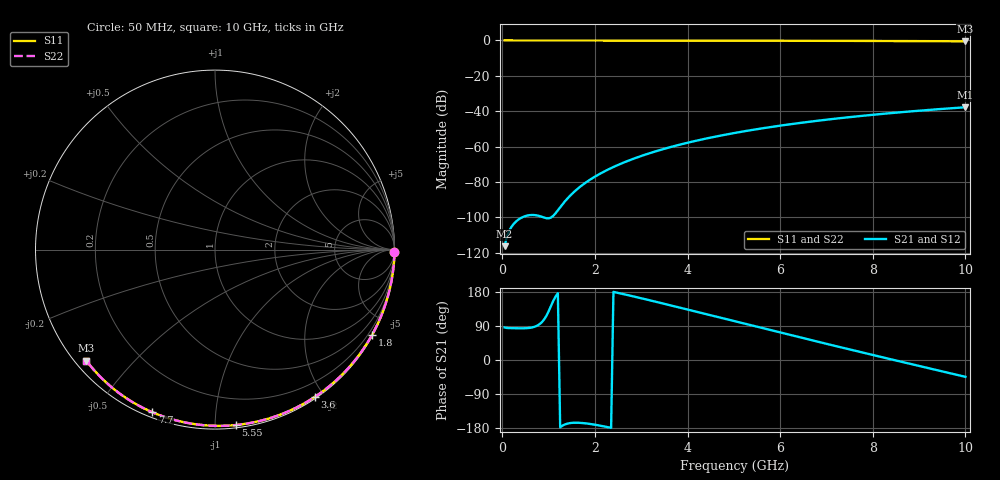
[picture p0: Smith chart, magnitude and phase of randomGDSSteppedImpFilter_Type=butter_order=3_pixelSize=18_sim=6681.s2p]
! freq	dB(S11)	phase(S11)	dB(S12)	phase(S12)
!  dB(S21)	phase(S21)	dB(S22)	phase(S22)
!S-par simulation data
#  GHz  S  DB  R 50
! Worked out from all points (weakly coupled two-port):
!   200 points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, 50 MHz to 10 GHz, reference 50 ohm
!   highest |S21| = -37.77 dB at 10 GHz (marker M1); lowest = -116.3 dB at 50 MHz (marker M2)
!   lowest |S11| = -0.5 dB at 10 GHz (marker M3), VSWR 36.77, Z = 1.55 - j18.6 ohm
!   |S11| at or under -10 dB: nowhere
!   |S22| runs from -0.5 to 0.0 dB; largest |S21 - S12| = 0
!   S11 on the Smith chart (normalised r, x): 50 MHz: open; 1.8 GHz: 0.03, -3.93; 3.6 GHz: 0.02, -1.89; 5.55 GHz: 0.02, -1.13; 7.7 GHz: 0.02, -0.69; 10 GHz: 0.03, -0.37
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0.05  -0.00 -0.8  -116.33 85.8  -116.33 85.8  -0.00 -0.8
0.45  -0.01 -7.2  -99.78 83.6  -99.78 83.6  -0.01 -7.2
0.9  -0.02 -14.4  -100.15 106.4  -100.15 106.4  -0.02 -14.4
1.75  -0.04 -27.8  -81.35 -166.6  -81.35 -166.6  -0.04 -27.8
1.8  -0.04 -28.5  -80.40 -167.2  -80.40 -167.2  -0.04 -28.5
1.85  -0.04 -29.3  -79.51 -168.0  -79.51 -168.0  -0.04 -29.3
2.05  -0.04 -32.4  -76.26 -171.8  -76.26 -171.8  -0.04 -32.4
2.2  -0.04 -34.7  -74.12 -175.3  -74.12 -175.3  -0.04 -34.7
2.55  -0.05 -40.1  -69.82 175.7  -69.82 175.7  -0.05 -40.1
2.95  -0.06 -46.1  -65.79 164.4  -65.79 164.4  -0.06 -46.1
3.4  -0.07 -52.8  -62.01 151.2  -62.01 151.2  -0.07 -52.8
3.6  -0.08 -55.8  -60.52 145.2  -60.52 145.2  -0.08 -55.8
3.9  -0.08 -60.1  -58.48 136.2  -58.48 136.2  -0.08 -60.1
4.3  -0.09 -65.9  -56.04 124.0  -56.04 124.0  -0.09 -65.9
5.05  -0.12 -76.4  -52.16 101.3  -52.16 101.3  -0.12 -76.4
5.55  -0.14 -83.2  -49.95 86.1  -49.95 86.1  -0.14 -83.2
6.1  -0.16 -90.5  -47.81 69.5  -47.81 69.5  -0.16 -90.5
6.7  -0.19 -98.3  -45.75 51.6  -45.75 51.6  -0.19 -98.3
7.7  -0.25 -111.0  -42.81 22.0  -42.81 22.0  -0.25 -111.0
8.35  -0.31 -119.1  -41.18 3.1  -41.18 3.1  -0.31 -119.1
9.2  -0.38 -129.5  -39.31 -21.5  -39.31 -21.5  -0.38 -129.5
10  -0.47 -139.2  -37.77 -44.4  -37.77 -44.4  -0.47 -139.2
